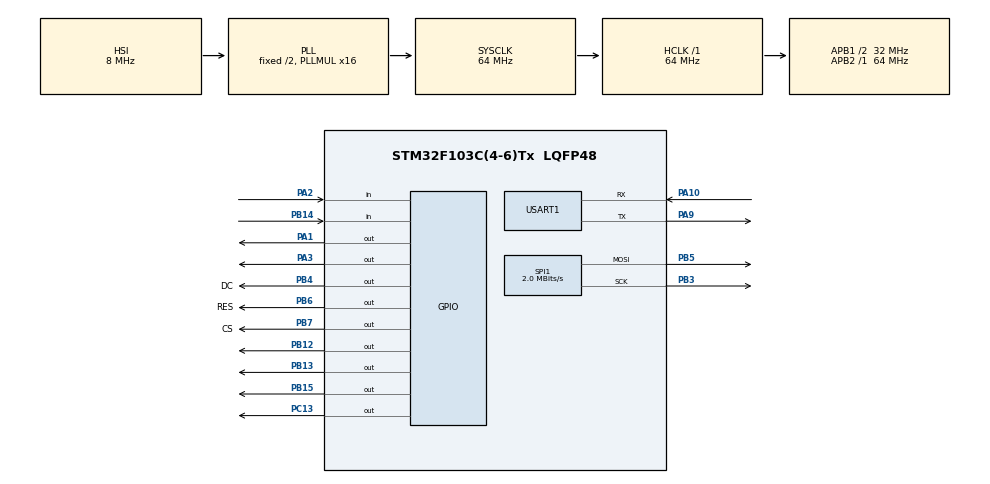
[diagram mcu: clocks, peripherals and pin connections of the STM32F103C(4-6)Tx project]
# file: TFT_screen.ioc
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Dma.Request0=USART1_RX
Dma.USART1_RX.0.Direction=DMA_PERIPH_TO_MEMORY
Dma.USART1_RX.0.Instance=DMA1_Channel5
Dma.USART1_RX.0.MemDataAlignment=DMA_MDATAALIGN_BYTE
Dma.USART1_RX.0.MemInc=DMA_MINC_ENABLE
Dma.USART1_RX.0.Mode=DMA_CIRCULAR
Dma.USART1_RX.0.PeriphDataAlignment=DMA_PDATAALIGN_BYTE
Dma.USART1_RX.0.PeriphInc=DMA_PINC_DISABLE
Dma.USART1_RX.0.Priority=DMA_PRIORITY_HIGH
Mcu.Family=STM32F1
Mcu.Name=STM32F103C(4-6)Tx
Mcu.Package=LQFP48
NVIC.DMA1_Channel5_IRQn=true\:0\:0\:false\:false\:true\:false\:true\:true
NVIC.PriorityGroup=NVIC_PRIORITYGROUP_4
PA1.Signal=GPIO_Output
PA10.Mode=Asynchronous
PA10.Signal=USART1_RX
PA13.Mode=Serial_Wire
PA13.Signal=SYS_JTMS-SWDIO
PA14.Mode=Serial_Wire
PA14.Signal=SYS_JTCK-SWCLK
PA2.Signal=GPIO_Input
PA3.GPIO_ModeDefaultOutputPP=GPIO_MODE_OUTPUT_PP
PA3.GPIO_PuPd=GPIO_NOPULL
PA3.Signal=GPIO_Output
PA9.Mode=Asynchronous
PA9.Signal=USART1_TX
PB12.GPIO_Speed=GPIO_SPEED_FREQ_HIGH
PB12.PinState=GPIO_PIN_SET
PB12.Signal=GPIO_Output
PB13.GPIO_ModeDefaultOutputPP=GPIO_MODE_OUTPUT_OD
PB13.GPIO_PuPd=GPIO_PULLUP
PB13.GPIO_Speed=GPIO_SPEED_FREQ_HIGH
PB13.Signal=GPIO_Output
PB14.Signal=GPIO_Input
PB15.GPIO_ModeDefaultOutputPP=GPIO_MODE_OUTPUT_OD
PB15.GPIO_PuPd=GPIO_PULLUP
PB15.GPIO_Speed=GPIO_SPEED_FREQ_HIGH
PB15.Signal=GPIO_Output
PB3.Mode=TX_Only_Simplex_Unidirect_Master
PB3.Signal=SPI1_SCK
PB4.GPIO_Label=DC
PB4.GPIO_ModeDefaultOutputPP=GPIO_MODE_OUTPUT_OD
PB4.GPIO_PuPd=GPIO_PULLUP
PB4.GPIO_Speed=GPIO_SPEED_FREQ_HIGH
PB4.Signal=GPIO_Output
PB5.Mode=TX_Only_Simplex_Unidirect_Master
PB5.Signal=SPI1_MOSI
PB6.GPIO_Label=RES
PB6.Signal=GPIO_Output
PB7.GPIO_Label=CS
PB7.Signal=GPIO_Output
PC13-TAMPER-RTC.Signal=GPIO_Output
ProjectManager.HeapSize=0x200
ProjectManager.StackSize=0x400
ProjectManager.TargetToolchain=CMake
RCC.AHBFreq_Value=64000000
RCC.APB1CLKDivider=RCC_HCLK_DIV2
RCC.APB1Freq_Value=32000000
RCC.APB1TimFreq_Value=64000000
RCC.APB2Freq_Value=64000000
RCC.APB2TimFreq_Value=64000000
RCC.HCLKFreq_Value=64000000
RCC.PLLMUL=RCC_PLL_MUL16
RCC.SYSCLKFreq_VALUE=64000000
RCC.SYSCLKSource=RCC_SYSCLKSOURCE_PLLCLK
RCC.USBFreq_Value=64000000
SPI1.BaudRatePrescaler=SPI_BAUDRATEPRESCALER_32
SPI1.CalculateBaudRate=2.0 MBits/s
SPI1.Direction=SPI_DIRECTION_2LINES
SPI1.Mode=SPI_MODE_MASTER
SPI1.VirtualType=VM_MASTER
USART1.VirtualMode=VM_ASYNC
board=custom

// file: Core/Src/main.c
/* USER CODE BEGIN Header */
/**
  ******************************************************************************
  * @file           : main.c
  * @brief          : Main program body
  ******************************************************************************
  * @attention
  *
  * Copyright (c) 2026 STMicroelectronics.
  * All rights reserved.
  *
  * This software is licensed under terms that can be found in the LICENSE file
  * in the root directory of this software component.
  * If no LICENSE file comes with this software, it is provided AS-IS.
  *
  ******************************************************************************
  */
/* USER CODE END Header */
#include "main.h"

#include <string.h>

#include "spi_flash.h"
#include "tft_driver.h"

#define MODE_MASTER

/* USER CODE BEGIN PD */
#ifdef MODE_SLAVE
#define IO_MODE GPIO_MODE_ANALOG
#endif

#ifdef MODE_MASTER
#define IO_MODE GPIO_MODE_OUTPUT_PP
#endif
/* USER CODE END PD */

SPI_HandleTypeDef hspi1;

UART_HandleTypeDef huart1;
DMA_HandleTypeDef hdma_usart1_rx;

void SystemClock_Config(void);
static void MX_GPIO_Init(void);
static void MX_DMA_Init(void);
static void MX_SPI1_Init(void);
static void MX_USART1_UART_Init(void);

int main(void)
{
  HAL_Init();
  SystemClock_Config();
  MX_GPIO_Init();
  MX_DMA_Init();
  MX_SPI1_Init();
  MX_USART1_UART_Init();
///////////////////////////
  tft_init();
  tft_def_window(0, 0x83, 0, 0xa1);
  send_data(FLASH_START_ADDR, 0xa710);

  while (1)
  {

  }
  /* USER CODE END 3 */
}

void SystemClock_Config(void)
{
  RCC_OscInitTypeDef RCC_OscInitStruct = {0};
  RCC_ClkInitTypeDef RCC_ClkInitStruct = {0};

  /** Initializes the RCC Oscillators according to the specified parameters
  * in the RCC_OscInitTypeDef structure.
  */
  RCC_OscInitStruct.OscillatorType = RCC_OSCILLATORTYPE_HSI;
  RCC_OscInitStruct.HSIState = RCC_HSI_ON;
  RCC_OscInitStruct.HSICalibrationValue = RCC_HSICALIBRATION_DEFAULT;
  RCC_OscInitStruct.PLL.PLLState = RCC_PLL_ON;
  RCC_OscInitStruct.PLL.PLLSource = RCC_PLLSOURCE_HSI_DIV2;
  RCC_OscInitStruct.PLL.PLLMUL = RCC_PLL_MUL16;
  if (HAL_RCC_OscConfig(&RCC_OscInitStruct) != HAL_OK)
  {
    Error_Handler();
  }

  /** Initializes the CPU, AHB and APB buses clocks
  */
  RCC_ClkInitStruct.ClockType = RCC_CLOCKTYPE_HCLK|RCC_CLOCKTYPE_SYSCLK
                              |RCC_CLOCKTYPE_PCLK1|RCC_CLOCKTYPE_PCLK2;
  RCC_ClkInitStruct.SYSCLKSource = RCC_SYSCLKSOURCE_PLLCLK;
  RCC_ClkInitStruct.AHBCLKDivider = RCC_SYSCLK_DIV1;
  RCC_ClkInitStruct.APB1CLKDivider = RCC_HCLK_DIV2;
  RCC_ClkInitStruct.APB2CLKDivider = RCC_HCLK_DIV1;

  if (HAL_RCC_ClockConfig(&RCC_ClkInitStruct, FLASH_LATENCY_2) != HAL_OK)
  {
    Error_Handler();
  }
}

static void MX_SPI1_Init(void)
{

  /* SPI1 parameter configuration*/
  hspi1.Instance = SPI1;
  hspi1.Init.Mode = SPI_MODE_MASTER;
  hspi1.Init.Direction = SPI_DIRECTION_2LINES;
  hspi1.Init.DataSize = SPI_DATASIZE_8BIT;
  hspi1.Init.CLKPolarity = SPI_POLARITY_LOW;
  hspi1.Init.CLKPhase = SPI_PHASE_1EDGE;
  hspi1.Init.NSS = SPI_NSS_SOFT;
  hspi1.Init.BaudRatePrescaler = SPI_BAUDRATEPRESCALER_16;
  hspi1.Init.FirstBit = SPI_FIRSTBIT_MSB;
  hspi1.Init.TIMode = SPI_TIMODE_DISABLE;
  hspi1.Init.CRCCalculation = SPI_CRCCALCULATION_DISABLE;
  hspi1.Init.CRCPolynomial = 10;
  if (HAL_SPI_Init(&hspi1) != HAL_OK)
  {
    Error_Handler();
  }

}

static void MX_USART1_UART_Init(void)
{

  huart1.Instance = USART1;
  huart1.Init.BaudRate = 115200;
  huart1.Init.WordLength = UART_WORDLENGTH_8B;
  huart1.Init.StopBits = UART_STOPBITS_1;
  huart1.Init.Parity = UART_PARITY_NONE;
  huart1.Init.Mode = UART_MODE_TX_RX;
  huart1.Init.HwFlowCtl = UART_HWCONTROL_NONE;
  huart1.Init.OverSampling = UART_OVERSAMPLING_16;
  if (HAL_UART_Init(&huart1) != HAL_OK)
  {
    Error_Handler();
  }

}

static void MX_DMA_Init(void)
{

  /* DMA controller clock enable */
  __HAL_RCC_DMA1_CLK_ENABLE();

  /* DMA interrupt init */
  /* DMA1_Channel5_IRQn interrupt configuration */
  HAL_NVIC_SetPriority(DMA1_Channel5_IRQn, 0, 0);
  HAL_NVIC_EnableIRQ(DMA1_Channel5_IRQn);

}

static void MX_GPIO_Init(void)
{
  GPIO_InitTypeDef GPIO_InitStruct = {0};

  /* GPIO Ports Clock Enable */
  __HAL_RCC_GPIOC_CLK_ENABLE();
  __HAL_RCC_GPIOA_CLK_ENABLE();
  __HAL_RCC_GPIOB_CLK_ENABLE();

  /*Configure GPIO pin Output Level */
  HAL_GPIO_WritePin(GPIOC, GPIO_PIN_13, GPIO_PIN_RESET);

  /*Configure GPIO pin Output Level */
  HAL_GPIO_WritePin(GPIOA, GPIO_PIN_1|GPIO_PIN_3, GPIO_PIN_RESET);

  /*Configure GPIO pin Output Level */
  HAL_GPIO_WritePin(GPIOB, GPIO_PIN_12, GPIO_PIN_SET);

  /*Configure GPIO pin Output Level */
  HAL_GPIO_WritePin(GPIOB, GPIO_PIN_13|GPIO_PIN_15|DC_Pin
                          |CS_Pin, GPIO_PIN_RESET);
  HAL_GPIO_WritePin(GPIOB, RES_Pin, GPIO_PIN_SET);

  /*Configure GPIO pin : PC13 */
  GPIO_InitStruct.Pin = GPIO_PIN_13;
  GPIO_InitStruct.Mode = GPIO_MODE_OUTPUT_PP;
  GPIO_InitStruct.Pull = GPIO_NOPULL;
  GPIO_InitStruct.Speed = GPIO_SPEED_FREQ_LOW;
  HAL_GPIO_Init(GPIOC, &GPIO_InitStruct);

  /*Configure GPIO pins : PA1 PA3 */
  GPIO_InitStruct.Pin = GPIO_PIN_1|GPIO_PIN_3;
  GPIO_InitStruct.Mode = GPIO_MODE_OUTPUT_PP;
  GPIO_InitStruct.Pull = GPIO_NOPULL;
  GPIO_InitStruct.Speed = GPIO_SPEED_FREQ_LOW;
  HAL_GPIO_Init(GPIOA, &GPIO_InitStruct);

  /*Configure GPIO pin : PA2 */
  GPIO_InitStruct.Pin = GPIO_PIN_2;
  GPIO_InitStruct.Mode = GPIO_MODE_INPUT;
  GPIO_InitStruct.Pull = GPIO_NOPULL;
  HAL_GPIO_Init(GPIOA, &GPIO_InitStruct);

  /*Configure GPIO pin : PB12 */
  GPIO_InitStruct.Pin = GPIO_PIN_12;
  GPIO_InitStruct.Mode = GPIO_MODE_ANALOG;
  GPIO_InitStruct.Pull = GPIO_NOPULL;
  GPIO_InitStruct.Speed = GPIO_SPEED_FREQ_HIGH;
  HAL_GPIO_Init(GPIOB, &GPIO_InitStruct);

  /*Configure GPIO pins : PB13 PB15 DC_Pin */
  GPIO_InitStruct.Pin = GPIO_PIN_13|GPIO_PIN_15|DC_Pin;
  GPIO_InitStruct.Mode = IO_MODE;
  GPIO_InitStruct.Pull = GPIO_PULLUP;
  GPIO_InitStruct.Speed = GPIO_SPEED_FREQ_HIGH;
  HAL_GPIO_Init(GPIOB, &GPIO_InitStruct);

  /*Configure GPIO pins : RES_Pin CS_Pin */
  GPIO_InitStruct.Pin = RES_Pin|CS_Pin;
  GPIO_InitStruct.Mode = GPIO_MODE_OUTPUT_PP;
  GPIO_InitStruct.Pull = GPIO_NOPULL;
  GPIO_InitStruct.Speed = GPIO_SPEED_FREQ_LOW;
  HAL_GPIO_Init(GPIOB, &GPIO_InitStruct);

  /* USER CODE BEGIN MX_GPIO_Init_2 */
  GPIO_InitStruct.Pin = GPIO_PIN_15|GPIO_PIN_12|GPIO_PIN_13;
  GPIO_InitStruct.Mode = IO_MODE;
  GPIO_InitStruct.Pull = GPIO_NOPULL;
  GPIO_InitStruct.Speed = GPIO_SPEED_FREQ_HIGH;
  HAL_GPIO_Init(GPIOB, &GPIO_InitStruct);

  GPIO_InitStruct.Pin = GPIO_PIN_14;
  GPIO_InitStruct.Mode = GPIO_MODE_INPUT;
  GPIO_InitStruct.Pull = GPIO_NOPULL;
  HAL_GPIO_Init(GPIOB, &GPIO_InitStruct);
  /* USER CODE END MX_GPIO_Init_2 */
}

void Error_Handler(void)
{
  __disable_irq();
  while (1)
  {
  }
}
